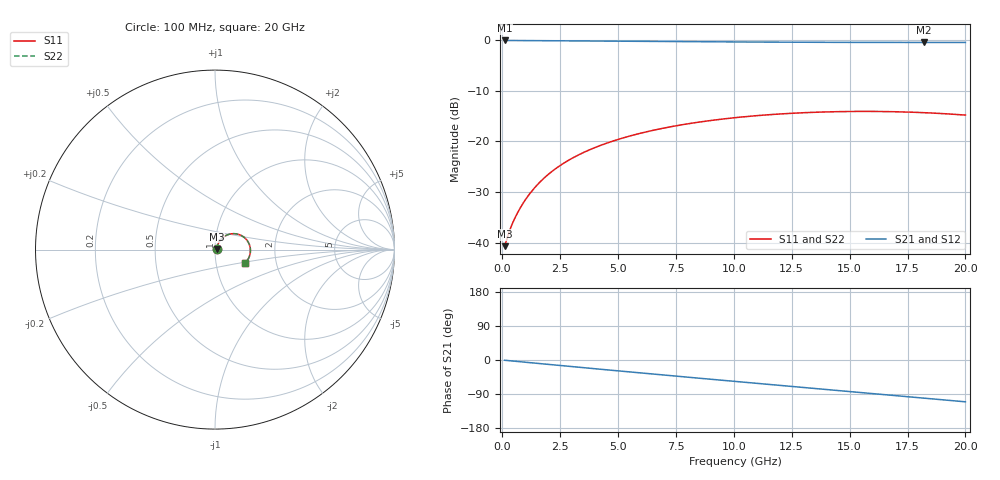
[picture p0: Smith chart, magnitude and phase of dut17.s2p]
! Touchstone file exported from HFSS 2026.1.0
!  File:  C:/ffzhzh/LocalFiles/Ansys_Project_Files/temp_val_TSV_RDL_17_1782977215_45748.aedt
!  Generated:  03:35:53 PM Jul  2, 2026
!  Design:  TSV_RDL
!  Project:  temp_val_TSV_RDL_17_1782977215_45748
! Variables:
!  h_bsmrdl = 3.41um
!  h_ox = 20um
!  h_rdl = 5um
!  h_sub = 63um
!  h_tmrdl = 5.1um
!  h_tsv = 63um
!  h_via = 3um
!  l_bsmrdl = 219.36um
!  l_sub = 1876.91um
!  l_tmrdl = 176.95um
!  m_sub = 200um
!  pitch = 27.24um
!  r_tsv = 6.25um
!  s_tmrdl = 10um
!  w_bsmrdl = 17.71um
!  w_sub = 500um
!  w_tmrdl = 19.3um
!  x_tsv_center1 = 186.6um
!  x_tsv_center2 = 423.67um
!  x_tsv_center3 = 619.92um
!  x_tsv_center4 = 856.99um
!  x_tsv_center5 = 1053.24um
!  x_tsv_center6 = 1290.31um
# GHz S MA R 50.000000
! Terminal data exported
! Port[1] = TM_RDL1_1_T1
! Port[2] = TM_RDL5_1_T1
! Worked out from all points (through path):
!   200 points, 100 MHz to 20 GHz, reference 50 ohm
!   highest |S21| = -0.08 dB at 100 MHz (marker M1); lowest = -0.5 dB at 18.2 GHz (marker M2)
!   group delay of S21, straight-line fit = 15.2 ps
!   lowest |S11| = -40.7 dB at 100 MHz (marker M3), VSWR 1.02, Z = 50.9 + j0.305 ohm
!   |S11| at or under -10 dB: start of sweep to end of sweep
!   |S22| runs from -40.7 to -14.1 dB; largest |S21 - S12| = 2e-13
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0.1  0.009226 19.0  0.9913 -0.6  0.9913 -0.6  0.009226 19.0
! Gamma 0 0 0 0
! Port Impedance 50 0 50 0
0.3  0.01284 38.8  0.9902 -1.8  0.9902 -1.8  0.01284 38.8
0.4  0.01475 43.9  0.9898 -2.4  0.9898 -2.4  0.01475 43.9
0.6  0.01856 50.8  0.9891 -3.6  0.9891 -3.6  0.01856 50.8
0.9  0.02451 56.9  0.9884 -5.3  0.9884 -5.3  0.02451 56.9
1.3  0.03278 60.7  0.9875 -7.6  0.9875 -7.6  0.03278 60.7
1.8  0.04329 62.0  0.9861 -10.5  0.9861 -10.5  0.04328 62.0
2.3  0.05367 61.5  0.9846 -13.4  0.9846 -13.4  0.05367 61.5
2.9  0.0658 59.8  0.9826 -16.8  0.9826 -16.8  0.06579 59.8
3.5  0.07746 57.5  0.9805 -20.2  0.9805 -20.2  0.07746 57.5
4.2  0.09047 54.5  0.9779 -24.2  0.9779 -24.2  0.09046 54.5
5  0.1045 50.7  0.975 -28.7  0.975 -28.7  0.1045 50.8
5.9  0.1192 46.4  0.9717 -33.7  0.9717 -33.7  0.1192 46.4
6.8  0.1327 41.9  0.9684 -38.7  0.9684 -38.7  0.1327 41.9
8.4  0.1538 33.8  0.963 -47.5  0.963 -47.5  0.1538 33.9
10.1  0.1718 25.2  0.958 -56.8  0.958 -56.8  0.1718 25.2
11.8  0.1851 16.6  0.9538 -66.0  0.9538 -66.0  0.1851 16.6
13.4  0.1933 8.5  0.9508 -74.7  0.9508 -74.7  0.1933 8.5
15.1  0.1973 -0.1  0.9486 -83.8  0.9486 -83.8  0.1973 -0.1
16.7  0.1966 -8.2  0.9475 -92.5  0.9475 -92.5  0.1966 -8.2
18.2  0.192 -15.8  0.9472 -100.6  0.9472 -100.6  0.192 -15.8
20  0.1817 -25.0  0.9476 -110.3  0.9476 -110.3  0.1817 -24.9
